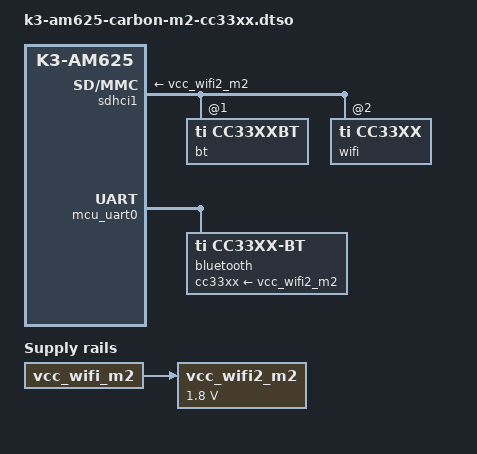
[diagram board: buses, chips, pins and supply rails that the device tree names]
// SPDX-License-Identifier: GPL-2.0
/*
 * M.2 SDIO TI CC33xx module
 * Copyright (C) 2024 Ezurio LLC
 */

#include "k3-am625-carbon-m2.dtsi"

&{/} {
	/* Regulator needed to sync Wi-Fi and Bluetooth on power transitions */
	vcc_wifi2_m2: regulator-wifi2-m2 {
		compatible = "regulator-fixed";
		regulator-name = "vcc_wifi_en_m2";
		regulator-min-microvolt = <1800000>;
		regulator-max-microvolt = <1800000>;

		vin-supply = <&vcc_wifi_m2>;
	};
};

&sdhci1 { /* SDIO_A uSD / M.2_SDIO */
	vmmc-supply = <&vcc_wifi2_m2>;

	cap-power-off-card;

	bt@1 {
		reg = <1>;
		compatible = "ti,cc33xxbt";
	};

	wifi@2 {
		reg = <2>;
		compatible = "ti,cc33xx";
	};
};

&mcu_uart0 {
	bluetooth {
		compatible = "ti,cc33xx-bt";
		cc33xx-supply = <&vcc_wifi2_m2>;
		max-speed = <115200>;
	};
};
